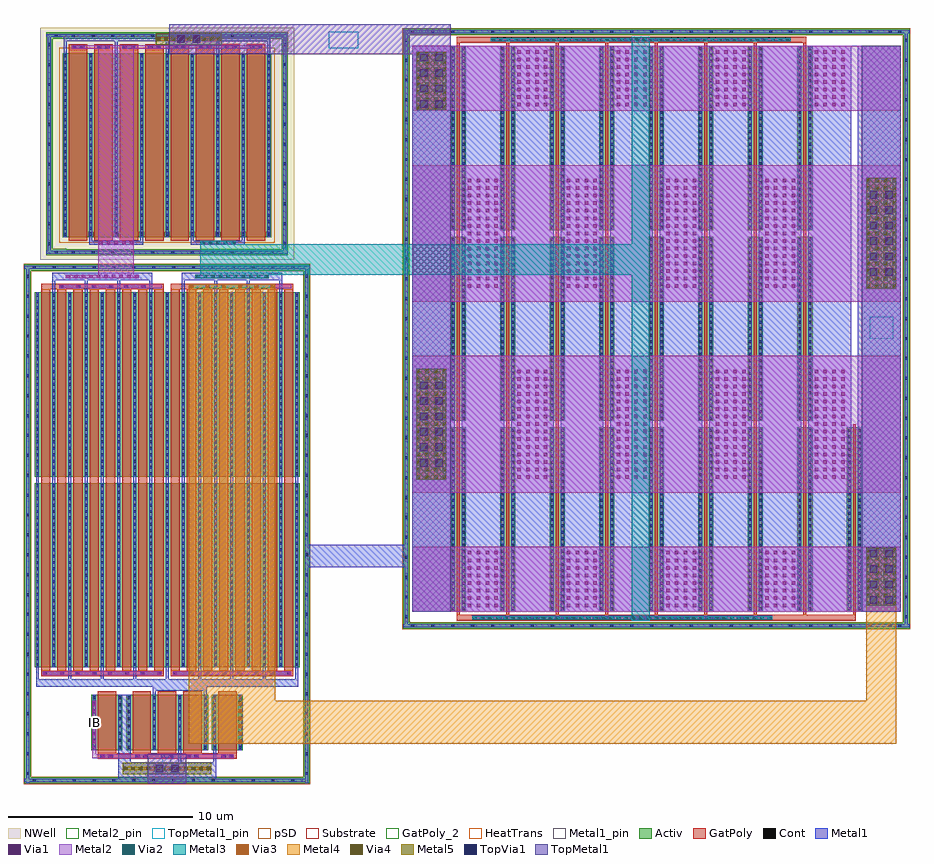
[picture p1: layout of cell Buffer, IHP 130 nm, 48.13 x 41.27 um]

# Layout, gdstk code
from math import pi, radians
import gdstk
lib = gdstk.Library(unit=1e-6, precision=1e-09)
def R(c, l, rs):  # rectangles x0, y0, x1, y1
    for r in rs: c.add(gdstk.rectangle(r[:2], r[2:], *l))
def A(c, l, x, y, w, h, nx, ny, dx, dy):  # array of equal rectangles
    R(c, l, [(x+i*dx, y+j*dy, x+i*dx+w, y+j*dy+h) for i in range(nx) for j in range(ny)])
Activ = (1, 0)
GatPoly = (5, 0)
GatPoly_2 = (5, 2)
Cont = (6, 0)
Metal1 = (8, 0)
Metal1_pin = (8, 2)
Metal2 = (10, 0)
Metal2_pin = (10, 2)
pSD = (14, 0)
Via1 = (19, 0)
Via2 = (29, 0)
Metal3 = (30, 0)
NWell = (31, 0)
Substrate = (40, 0)
Via3 = (49, 0)
Metal4 = (50, 0)
HeatTrans = (51, 0)
Via4 = (66, 0)
Metal5 = (67, 0)
TopVia1 = (125, 0)
TopMetal1 = (126, 0)
TopMetal1_pin = (126, 2)

nmos_13 = lib.new_cell('nmos$13')
R(nmos_13, Activ, [(0,0,0.3,0.3), (0,0,0.83,10), (0.53,0,0.83,0.3)])
R(nmos_13, GatPoly, [(0.34,-0.18,0.49,10.18)])
R(nmos_13, GatPoly_2, [(0.34,-0.18,0.49,10.18)])
A(nmos_13, Cont, 0.07, 0.07, 0.16, 0.16, 1, 4, 0, 0.345)
A(nmos_13, Cont, 0.6, 0.07, 0.16, 0.16, 1, 4, 0, 0.345)
A(nmos_13, Cont, 0.07, 1.455, 0.16, 0.16, 1, 3, 0, 0.345)
A(nmos_13, Cont, 0.6, 1.455, 0.16, 0.16, 1, 3, 0, 0.345)
A(nmos_13, Cont, 0.07, 2.495, 0.16, 0.16, 1, 4, 0, 0.345)
A(nmos_13, Cont, 0.6, 2.495, 0.16, 0.16, 1, 4, 0, 0.345)
A(nmos_13, Cont, 0.07, 3.88, 0.16, 0.16, 1, 3, 0, 0.345)
A(nmos_13, Cont, 0.6, 3.88, 0.16, 0.16, 1, 3, 0, 0.345)
A(nmos_13, Cont, 0.07, 4.92, 0.16, 0.16, 1, 4, 0, 0.345)
A(nmos_13, Cont, 0.6, 4.92, 0.16, 0.16, 1, 4, 0, 0.345)
A(nmos_13, Cont, 0.07, 6.305, 0.16, 0.16, 1, 3, 0, 0.345)
A(nmos_13, Cont, 0.6, 6.305, 0.16, 0.16, 1, 3, 0, 0.345)
A(nmos_13, Cont, 0.07, 7.345, 0.16, 0.16, 1, 4, 0, 0.345)
A(nmos_13, Cont, 0.6, 7.345, 0.16, 0.16, 1, 4, 0, 0.345)
A(nmos_13, Cont, 0.07, 8.73, 0.16, 0.16, 1, 3, 0, 0.345)
A(nmos_13, Cont, 0.6, 8.73, 0.16, 0.16, 1, 3, 0, 0.345)
R(nmos_13, Cont, [(0.07,9.77,0.23,9.93), (0.6,9.77,0.76,9.93)])
R(nmos_13, Metal1, [(0.07,0,0.23,10), (0.6,0,0.76,10)])
R(nmos_13, Metal1_pin, [(0.07,0,0.23,10), (0.6,0,0.76,10)])
R(nmos_13, HeatTrans, [(0.34,-0.18,0.49,10.18)])
nmos_13.add(gdstk.Label('nmos', (0.415,5), layer=63, texttype=0))
nmos_13.add(gdstk.Label('nmos', (0.415,5), layer=51, texttype=0))

metal1sf = lib.new_cell('metal1SF')

via_stack_49 = lib.new_cell('via_stack$49')
R(via_stack_49, Metal1, [(-0.825,-1.58,0.825,1.58)])
R(via_stack_49, Metal2, [(-0.82,-1.58,0.82,1.58)])
A(via_stack_49, Via1, -0.815, -1.53, 0.19, 0.19, 4, 8, 0.48, 0.41)
A(via_stack_49, Via2, -0.815, -1.53, 0.19, 0.19, 4, 8, 0.48, 0.41)
R(via_stack_49, Metal3, [(-0.82,-1.58,0.82,1.58)])
A(via_stack_49, Via3, -0.815, -1.53, 0.19, 0.19, 4, 8, 0.48, 0.41)
R(via_stack_49, Metal4, [(-0.82,-1.58,0.82,1.58)])
A(via_stack_49, Via4, -0.815, -1.53, 0.19, 0.19, 4, 8, 0.48, 0.41)
R(via_stack_49, Metal5, [(-0.82,-1.58,0.82,1.58)])
A(via_stack_49, TopVia1, -0.63, -1.47, 0.42, 0.42, 1, 4, 0, 0.84)
A(via_stack_49, TopVia1, 0.21, -1.47, 0.42, 0.42, 1, 4, 0, 0.84)
R(via_stack_49, TopMetal1, [(-1.05,-1.89,1.05,1.89)])

via_stack_50 = lib.new_cell('via_stack$50')
R(via_stack_50, Metal1, [(-0.825,-3.015,0.825,3.015)])
R(via_stack_50, Metal2, [(-0.82,-3.015,0.82,3.015)])
A(via_stack_50, Via1, -0.815, -2.965, 0.19, 0.19, 4, 15, 0.48, 0.41)
A(via_stack_50, Via2, -0.815, -2.965, 0.19, 0.19, 4, 15, 0.48, 0.41)
R(via_stack_50, Metal3, [(-0.82,-3.015,0.82,3.015)])
A(via_stack_50, Via3, -0.815, -2.965, 0.19, 0.19, 4, 15, 0.48, 0.41)
R(via_stack_50, Metal4, [(-0.82,-3.015,0.82,3.015)])
A(via_stack_50, Via4, -0.815, -2.965, 0.19, 0.19, 4, 15, 0.48, 0.41)
R(via_stack_50, Metal5, [(-0.82,-3.015,0.82,3.015)])
A(via_stack_50, TopVia1, -0.63, -2.31, 0.42, 0.42, 1, 6, 0, 0.84)
A(via_stack_50, TopVia1, 0.21, -2.31, 0.42, 0.42, 1, 6, 0, 0.84)
R(via_stack_50, TopMetal1, [(-1.05,-2.73,1.05,2.73)])

via_stack_44 = lib.new_cell('via_stack$44')
R(via_stack_44, Metal1, [(-0.825,-3.015,0.825,3.015)])
R(via_stack_44, Metal2, [(-0.82,-3.015,0.82,3.015)])
A(via_stack_44, Via1, -0.815, -2.965, 0.19, 0.19, 4, 15, 0.48, 0.41)

via_stack_45 = lib.new_cell('via_stack$45')
R(via_stack_45, Metal1, [(-0.825,-1.58,0.825,1.58)])
R(via_stack_45, Metal2, [(-0.82,-1.58,0.82,1.58)])
A(via_stack_45, Via1, -0.815, -1.53, 0.19, 0.19, 4, 8, 0.48, 0.41)

via_stack_46 = lib.new_cell('via_stack$46')
R(via_stack_46, GatPoly, [(-6.78,-0.15,6.78,0.15)])
A(via_stack_46, Cont, -6.71, -0.08, 0.16, 0.16, 40, 1, 0.34, 0)
R(via_stack_46, Metal1, [(-8.14,-0.105,8.14,0.105)])
R(via_stack_46, Metal2, [(-8.14,-0.1,8.14,0.1)])
A(via_stack_46, Via1, -8.09, -0.095, 0.19, 0.19, 40, 1, 0.41, 0)
A(via_stack_46, Via2, -8.09, -0.095, 0.19, 0.19, 40, 1, 0.41, 0)
R(via_stack_46, Metal3, [(-8.14,-0.1,8.14,0.1)])

gatesf = lib.new_cell('gateSF')
R(gatesf, GatPoly, [(0,0,18.98,0.315)])
gatesf.add(gdstk.Reference(via_stack_46, (9.99,0.165)))

bulk_nmos_1 = lib.new_cell('Bulk_NMOS$1')
R(bulk_nmos_1, Activ, [(0.03,0.03,1.11,0.37)])
R(bulk_nmos_1, Cont, [(0.49,0.12,0.65,0.28)])
R(bulk_nmos_1, Metal1, [(0.03,0.12,1.11,0.28)])
R(bulk_nmos_1, Metal1_pin, [(0.03,0.12,1.11,0.28)])
R(bulk_nmos_1, pSD, [(0,0,1.14,0.4)])

gatecurrentmirror = lib.new_cell('gateCurrentMirror')

nmos_12 = lib.new_cell('nmos$12')
R(nmos_12, Activ, [(0,0,0.3,0.3), (0,0,1.18,10), (0.88,0,1.18,0.3)])
R(nmos_12, GatPoly, [(0.34,-0.18,0.84,10.18)])
R(nmos_12, GatPoly_2, [(0.34,-0.18,0.84,10.18)])
A(nmos_12, Cont, 0.07, 0.07, 0.16, 0.16, 1, 4, 0, 0.345)
A(nmos_12, Cont, 0.95, 0.07, 0.16, 0.16, 1, 4, 0, 0.345)
A(nmos_12, Cont, 0.07, 1.455, 0.16, 0.16, 1, 3, 0, 0.345)
A(nmos_12, Cont, 0.95, 1.455, 0.16, 0.16, 1, 3, 0, 0.345)
A(nmos_12, Cont, 0.07, 2.495, 0.16, 0.16, 1, 4, 0, 0.345)
A(nmos_12, Cont, 0.95, 2.495, 0.16, 0.16, 1, 4, 0, 0.345)
A(nmos_12, Cont, 0.07, 3.88, 0.16, 0.16, 1, 3, 0, 0.345)
A(nmos_12, Cont, 0.95, 3.88, 0.16, 0.16, 1, 3, 0, 0.345)
A(nmos_12, Cont, 0.07, 4.92, 0.16, 0.16, 1, 4, 0, 0.345)
A(nmos_12, Cont, 0.95, 4.92, 0.16, 0.16, 1, 4, 0, 0.345)
A(nmos_12, Cont, 0.07, 6.305, 0.16, 0.16, 1, 3, 0, 0.345)
A(nmos_12, Cont, 0.95, 6.305, 0.16, 0.16, 1, 3, 0, 0.345)
A(nmos_12, Cont, 0.07, 7.345, 0.16, 0.16, 1, 4, 0, 0.345)
A(nmos_12, Cont, 0.95, 7.345, 0.16, 0.16, 1, 4, 0, 0.345)
A(nmos_12, Cont, 0.07, 8.73, 0.16, 0.16, 1, 3, 0, 0.345)
A(nmos_12, Cont, 0.95, 8.73, 0.16, 0.16, 1, 3, 0, 0.345)
R(nmos_12, Cont, [(0.07,9.77,0.23,9.93), (0.95,9.77,1.11,9.93)])
R(nmos_12, Metal1, [(0.07,0,0.23,10), (0.95,0,1.11,10)])
R(nmos_12, Metal1_pin, [(0.07,0,0.23,10), (0.95,0,1.11,10)])
R(nmos_12, HeatTrans, [(0.34,-0.18,0.84,10.18)])
nmos_12.add(gdstk.Label('nmos', (0.59,5), layer=63, texttype=0))
nmos_12.add(gdstk.Label('nmos', (0.59,5), layer=51, texttype=0))

metal1boxsourcedrainm1m2 = lib.new_cell('metal1BoxSourceDrainM1M2')
R(metal1boxsourcedrainm1m2, Metal1, [(0.88,0,1.04,0.655)])

metal1boxm1m2 = lib.new_cell('metal1BoxM1M2')
R(metal1boxm1m2, Metal1, [(0,0,0.16,0.36)])

metal1gatem1m2buffer = lib.new_cell('metal1gateM1M2Buffer')
R(metal1gatem1m2buffer, Metal1, [(0,0,1.17,0.21)])

via_stack_48 = lib.new_cell('via_stack$48')
R(via_stack_48, GatPoly, [(-0.15,-0.15,0.15,0.15)])
R(via_stack_48, Cont, [(-0.08,-0.08,0.08,0.08)])
R(via_stack_48, Metal1, [(-0.145,-0.105,0.145,0.105)])
R(via_stack_48, Metal2, [(-0.145,-0.1,0.145,0.1)])
R(via_stack_48, Via1, [(-0.095,-0.095,0.095,0.095)])

gatem1m2buffer = lib.new_cell('gateM1M2Buffer')
R(gatem1m2buffer, GatPoly, [(0,0,6.66,0.3)])
R(gatem1m2buffer, Metal2, [(0.105,0.045,6.555,0.255)])
r = gdstk.Reference(metal1gatem1m2buffer, (0.105,0.045)); r.repetition = gdstk.Repetition(4, 1, v1=(1.76,0), v2=(0,0)); gatem1m2buffer.add(r)
r = gdstk.Reference(via_stack_48, (0.25,0.15)); r.repetition = gdstk.Repetition(8, 1, v1=(0.88,0), v2=(0,0)); gatem1m2buffer.add(r)

metal1boxgatem1m2buffer = lib.new_cell('metal1boxGateM1M2Buffer')

gatem1m2buffer_1_1 = lib.new_cell('gateM1M2Buffer$1$1')
R(gatem1m2buffer_1_1, GatPoly, [(0,0,6.66,0.3)])
R(gatem1m2buffer_1_1, Metal2, [(0.985,0.045,6.555,0.255)])
r = gdstk.Reference(metal1gatem1m2buffer, (0.985,0.045)); r.repetition = gdstk.Repetition(3, 1, v1=(1.76,0), v2=(0,0)); gatem1m2buffer_1_1.add(r)
r = gdstk.Reference(via_stack_48, (1.13,0.15)); r.repetition = gdstk.Repetition(6, 1, v1=(0.88,0), v2=(0,0)); gatem1m2buffer_1_1.add(r)

nmos_8 = lib.new_cell('nmos$8')
R(nmos_8, Activ, [(0,0,0.3,0.3), (0,0,1.68,3), (1.38,0,1.68,0.3)])
R(nmos_8, GatPoly, [(0.34,-0.18,1.34,3.18)])
R(nmos_8, GatPoly_2, [(0.34,-0.18,1.34,3.18)])
A(nmos_8, Cont, 0.07, 0.07, 0.16, 0.16, 1, 7, 0, 0.385)
A(nmos_8, Cont, 1.45, 0.07, 0.16, 0.16, 1, 7, 0, 0.385)
R(nmos_8, Cont, [(0.07,2.77,0.23,2.93), (1.45,2.77,1.61,2.93)])
R(nmos_8, Metal1, [(0.07,0,0.23,3), (1.45,0,1.61,3)])
R(nmos_8, Metal1_pin, [(0.07,0,0.23,3), (1.45,0,1.61,3)])
R(nmos_8, HeatTrans, [(0.34,-0.18,1.34,3.18)])
nmos_8.add(gdstk.Label('nmos', (0.84,1.5), layer=63, texttype=0))
nmos_8.add(gdstk.Label('nmos', (0.84,1.5), layer=51, texttype=0))

via_stack_62 = lib.new_cell('via_stack$62')
R(via_stack_62, GatPoly, [(-0.15,-0.15,0.15,0.15)])
R(via_stack_62, Cont, [(-0.08,-0.08,0.08,0.08)])
R(via_stack_62, Metal1, [(-0.145,-0.105,0.145,0.105)])
R(via_stack_62, Metal2, [(-0.145,-0.1,0.145,0.1)])
R(via_stack_62, Via1, [(-0.095,-0.095,0.095,0.095)])
R(via_stack_62, Via2, [(-0.095,-0.095,0.095,0.095)])
R(via_stack_62, Metal3, [(-0.145,-0.1,0.145,0.1)])
R(via_stack_62, Via3, [(-0.095,-0.095,0.095,0.095)])
R(via_stack_62, Metal4, [(-0.145,-0.1,0.145,0.1)])

gatem1m2buffer_1 = lib.new_cell('gateM1M2Buffer$1')
R(gatem1m2buffer_1, GatPoly, [(0,0,6.66,0.3)])
R(gatem1m2buffer_1, Metal2, [(0.985,0.045,6.555,0.255)])
r = gdstk.Reference(metal1gatem1m2buffer, (0.985,0.045)); r.repetition = gdstk.Repetition(3, 1, v1=(1.76,0), v2=(0,0)); gatem1m2buffer_1.add(r)
r = gdstk.Reference(via_stack_62, (1.13,0.15)); r.repetition = gdstk.Repetition(6, 1, v1=(0.88,0), v2=(0,0)); gatem1m2buffer_1.add(r)

bulk_nmos_1_1 = lib.new_cell('Bulk_NMOS$1$1')
R(bulk_nmos_1_1, Activ, [(0.03,0.03,1.11,0.37)])
R(bulk_nmos_1_1, Metal1, [(0.03,0.12,1.11,0.28)])
R(bulk_nmos_1_1, Metal1_pin, [(0.03,0.12,1.11,0.28)])
R(bulk_nmos_1_1, pSD, [(0,0,1.14,0.4)])

via_stack_59 = lib.new_cell('via_stack$59')
R(via_stack_59, Metal1, [(-0.965,-0.105,0.965,0.105)])
R(via_stack_59, Metal2, [(-0.965,-0.1,0.965,0.1)])
A(via_stack_59, Via1, -0.915, -0.095, 0.19, 0.19, 5, 1, 0.41, 0)
A(via_stack_59, Via2, -0.915, -0.095, 0.19, 0.19, 5, 1, 0.41, 0)
R(via_stack_59, Metal3, [(-0.965,-0.1,0.965,0.1)])

pmos_7 = lib.new_cell('pmos$7')
R(pmos_7, Activ, [(0,0,0.3,0.3), (0,0,1.68,10), (1.38,0,1.68,0.3)])
R(pmos_7, GatPoly, [(0.34,-0.18,1.34,10.18), (0.34,-0.18,1.34,10.18)])
A(pmos_7, Cont, 0.07, 0.07, 0.16, 0.16, 1, 4, 0, 0.345)
A(pmos_7, Cont, 1.45, 0.07, 0.16, 0.16, 1, 4, 0, 0.345)
A(pmos_7, Cont, 0.07, 1.455, 0.16, 0.16, 1, 3, 0, 0.345)
A(pmos_7, Cont, 1.45, 1.455, 0.16, 0.16, 1, 3, 0, 0.345)
A(pmos_7, Cont, 0.07, 2.495, 0.16, 0.16, 1, 4, 0, 0.345)
A(pmos_7, Cont, 1.45, 2.495, 0.16, 0.16, 1, 4, 0, 0.345)
A(pmos_7, Cont, 0.07, 3.88, 0.16, 0.16, 1, 3, 0, 0.345)
A(pmos_7, Cont, 1.45, 3.88, 0.16, 0.16, 1, 3, 0, 0.345)
A(pmos_7, Cont, 0.07, 4.92, 0.16, 0.16, 1, 4, 0, 0.345)
A(pmos_7, Cont, 1.45, 4.92, 0.16, 0.16, 1, 4, 0, 0.345)
A(pmos_7, Cont, 0.07, 6.305, 0.16, 0.16, 1, 3, 0, 0.345)
A(pmos_7, Cont, 1.45, 6.305, 0.16, 0.16, 1, 3, 0, 0.345)
A(pmos_7, Cont, 0.07, 7.345, 0.16, 0.16, 1, 4, 0, 0.345)
A(pmos_7, Cont, 1.45, 7.345, 0.16, 0.16, 1, 4, 0, 0.345)
A(pmos_7, Cont, 0.07, 8.73, 0.16, 0.16, 1, 3, 0, 0.345)
A(pmos_7, Cont, 1.45, 8.73, 0.16, 0.16, 1, 3, 0, 0.345)
R(pmos_7, Cont, [(0.07,9.77,0.23,9.93), (1.45,9.77,1.61,9.93)])
R(pmos_7, Metal1, [(0.07,0,0.23,10), (0.07,0,0.23,10), (1.45,0,1.61,10), (1.45,0,1.61,10)])
R(pmos_7, pSD, [(-0.18,-0.3,1.86,10.3)])
R(pmos_7, NWell, [(-0.31,-0.31,1.99,10.31)])
R(pmos_7, Substrate, [(1.38,0,1.68,0.3)])
R(pmos_7, HeatTrans, [(0.34,-0.18,1.34,10.18)])
pmos_7.add(gdstk.Label('pmos', (0.84,5), layer=63, texttype=0))
pmos_7.add(gdstk.Label('pmos', (0.84,5), layer=51, texttype=0))

via_stack_55 = lib.new_cell('via_stack$55')
R(via_stack_55, Metal1, [(-0.965,-0.105,0.965,0.105)])
R(via_stack_55, Metal2, [(-0.965,-0.1,0.965,0.1)])
A(via_stack_55, Via1, -0.915, -0.095, 0.19, 0.19, 5, 1, 0.41, 0)

bulk_pmos_1_1 = lib.new_cell('Bulk_PMOS$1$1')
R(bulk_pmos_1_1, Activ, [(0.34,0.24,1.42,0.58)])
R(bulk_pmos_1_1, Metal1, [(0.34,0.33,1.42,0.49)])
R(bulk_pmos_1_1, Metal1_pin, [(0.34,0.33,1.42,0.49)])
R(bulk_pmos_1_1, NWell, [(0,0,1.76,0.82)])

bulk_pmos_1 = lib.new_cell('Bulk_PMOS$1')
R(bulk_pmos_1, Activ, [(0.34,0.24,1.42,0.58)])
R(bulk_pmos_1, Cont, [(0.8,0.33,0.96,0.49)])
R(bulk_pmos_1, Metal1, [(0.34,0.33,1.42,0.49)])
R(bulk_pmos_1, Metal1_pin, [(0.34,0.33,1.42,0.49)])
R(bulk_pmos_1, NWell, [(0,0,1.76,0.82)])

via_stack_52 = lib.new_cell('via_stack$52')
R(via_stack_52, GatPoly, [(-0.32,-0.15,0.32,0.15)])
R(via_stack_52, Cont, [(-0.25,-0.08,-0.09,0.08), (0.09,-0.08,0.25,0.08)])
R(via_stack_52, Metal1, [(-0.35,-0.105,0.35,0.105)])
R(via_stack_52, Metal2, [(-0.35,-0.1,0.35,0.1)])
R(via_stack_52, Via1, [(-0.3,-0.095,-0.11,0.095), (0.11,-0.095,0.3,0.095)])

gatepmosbuffer = lib.new_cell('gatePmosBuffer')
R(gatepmosbuffer, GatPoly, [(0,0,1,0.3)])
gatepmosbuffer.add(gdstk.Reference(via_stack_52, (0.5,0.15)))

via_stack_54 = lib.new_cell('via_stack$54')
R(via_stack_54, Metal1, [(-1.99,-0.105,1.99,0.105)])
R(via_stack_54, Metal2, [(-1.99,-0.1,1.99,0.1)])
A(via_stack_54, Via1, -1.94, -0.095, 0.19, 0.19, 10, 1, 0.41, 0)

via_stack_60 = lib.new_cell('via_stack$60')
R(via_stack_60, Metal1, [(-1.99,-0.105,1.99,0.105)])
R(via_stack_60, Metal2, [(-1.99,-0.1,1.99,0.1)])
A(via_stack_60, Via1, -1.94, -0.095, 0.19, 0.19, 10, 1, 0.41, 0)
A(via_stack_60, Via2, -1.94, -0.095, 0.19, 0.19, 10, 1, 0.41, 0)
R(via_stack_60, Metal3, [(-1.99,-0.1,1.99,0.1)])

via_stack_56 = lib.new_cell('via_stack$56')
R(via_stack_56, Metal1, [(-1.785,-0.105,1.785,0.105)])
R(via_stack_56, Metal2, [(-1.785,-0.1,1.785,0.1)])
A(via_stack_56, Via1, -1.735, -0.095, 0.19, 0.19, 9, 1, 0.41, 0)
A(via_stack_56, Via2, -1.735, -0.095, 0.19, 0.19, 9, 1, 0.41, 0)
R(via_stack_56, Metal3, [(-1.785,-0.1,1.785,0.1)])
A(via_stack_56, Via3, -1.735, -0.095, 0.19, 0.19, 9, 1, 0.41, 0)
R(via_stack_56, Metal4, [(-1.785,-0.1,1.785,0.1)])
A(via_stack_56, Via4, -1.735, -0.095, 0.19, 0.19, 9, 1, 0.41, 0)
R(via_stack_56, Metal5, [(-1.785,-0.31,1.785,0.31)])
R(via_stack_56, TopVia1, [(-0.63,-0.21,-0.21,0.21), (0.21,-0.21,0.63,0.21)])
R(via_stack_56, TopMetal1, [(-1.05,-0.82,1.05,0.82)])

via_stack_58 = lib.new_cell('via_stack$58')
R(via_stack_58, Metal1, [(-2.4,-0.105,2.4,0.105)])
R(via_stack_58, Metal2, [(-2.4,-0.1,2.4,0.1)])
A(via_stack_58, Via1, -2.35, -0.095, 0.19, 0.19, 12, 1, 0.41, 0)
A(via_stack_58, Via2, -2.35, -0.095, 0.19, 0.19, 12, 1, 0.41, 0)
R(via_stack_58, Metal3, [(-2.4,-0.1,2.4,0.1)])
A(via_stack_58, Via3, -2.35, -0.095, 0.19, 0.19, 12, 1, 0.41, 0)
R(via_stack_58, Metal4, [(-2.4,-0.1,2.4,0.1)])
A(via_stack_58, Via4, -2.35, -0.095, 0.19, 0.19, 12, 1, 0.41, 0)
R(via_stack_58, Metal5, [(-2.4,-0.31,2.4,0.31)])
R(via_stack_58, TopVia1, [(-0.63,-0.21,-0.21,0.21), (0.21,-0.21,0.63,0.21)])
R(via_stack_58, TopMetal1, [(-1.05,-0.82,1.05,0.82)])

via_stack_63 = lib.new_cell('via_stack$63')
R(via_stack_63, Metal1, [(-0.105,-1.17,0.105,1.17)])
R(via_stack_63, Metal2, [(-0.1,-1.17,0.1,1.17)])
A(via_stack_63, Via1, -0.095, -1.12, 0.19, 0.19, 1, 6, 0, 0.41)

via_stack_61 = lib.new_cell('via_stack$61')
R(via_stack_61, Metal1, [(-0.105,-1.17,0.105,1.17)])
R(via_stack_61, Metal2, [(-0.1,-1.17,0.1,1.17)])
A(via_stack_61, Via1, -0.095, -1.12, 0.19, 0.19, 1, 6, 0, 0.41)
A(via_stack_61, Via2, -0.095, -1.12, 0.19, 0.19, 1, 6, 0, 0.41)
R(via_stack_61, Metal3, [(-0.1,-1.17,0.1,1.17)])
A(via_stack_61, Via3, -0.095, -1.12, 0.19, 0.19, 1, 6, 0, 0.41)
R(via_stack_61, Metal4, [(-0.1,-1.17,0.1,1.17)])

buffer = lib.new_cell('Buffer')
R(buffer, Activ, [(0.349,-4.102,0.389,-3.762)])
R(buffer, GatPoly, [(-10.791,-2.767,-3.246,-2.467), (27.689,4.738,30.379,5.053)])
A(buffer, Metal1, 6.279, 5.233, 2.32, 30.72, 10, 1, 2.69, 0)
A(buffer, Metal1, -11.246, 25.383, 0.16, 0.18, 4, 1, 2.76, 0)
R(buffer, Metal1, [(0.349,-4.012,0.639,-3.852), (-9.681,-3.852,-4.356,-3.632), (-9.681,-3.632,-4.356,-2.962), (-9.681,-2.962,-9.011,0.713), (-6.411,-2.962,-6.251,-2.287), (-4.516,-2.962,-4.356,-2.287), (-7.791,0.713,-7.631,0.933), (-5.031,0.713,-4.871,0.933), (-7.791,0.933,-4.871,1.153), (-14.141,1.153,0.099,1.553), (0.479,7.643,6.039,8.858), (-13.261,23.223,-7.821,23.623), (-6.221,23.223,-0.781,23.623), (-11.246,25.163,-8.326,25.383), (-5.726,25.163,-2.806,25.383), (-12.626,36.218,-1.426,36.438)])
R(buffer, Metal2, [(-11.081,-2.722,-10.881,-1.957), (-10.881,-2.722,-3.396,-2.512), (6.279,5.233,32.809,8.753), (6.279,11.693,32.809,19.113), (6.279,22.053,32.809,29.473), (-10.751,23.523,-8.821,25.173), (-10.751,25.373,-8.821,35.998), (6.279,32.433,32.809,35.953), (-12.206,35.788,-1.846,35.998)])
R(buffer, Metal2_pin, [(-11.081,-0.862,-10.881,-0.717), (-11.491,1.798,-11.296,1.958)])
R(buffer, Metal3, [(18.199,4.738,19.199,36.448), (-5.846,22.798,-1.156,22.998), (-5.231,23.523,18.199,25.173)])
R(buffer, NWell, [(-13.926,24.343,-0.121,36.928)])
R(buffer, Metal4, [(-5.846,-1.957,-3.156,0.383), (-2.956,-1.957,32.579,0.383), (-5.846,0.383,-1.156,22.798), (30.939,0.383,32.579,5.543), (-5.846,22.798,-1.156,22.998)])
R(buffer, TopMetal1, [(6.279,5.233,8.379,35.953), (30.709,5.233,32.809,35.953), (-4.796,35.503,8.379,37.143)])
R(buffer, TopMetal1_pin, [(-7.276,-2.987,-6.816,-2.657), (31.129,20.038,32.414,21.248), (1.769,35.838,3.354,36.723)])
r = gdstk.Reference(nmos_13, (8.369,5.233)); r.repetition = gdstk.Repetition(8, 3, v1=(2.69,0), v2=(0,10.36)); buffer.add(r)
buffer.add(gdstk.Reference(nmos_13, (29.889,5.233)))
r = gdstk.Reference(metal1sf, (20.604,5.073)); r.repetition = gdstk.Repetition(10, 1, v1=(2.69,0), v2=(0,0)); buffer.add(r)
buffer.add(gdstk.Reference(via_stack_49, (7.329,34.063)))
buffer.add(gdstk.Reference(via_stack_50, (31.759,25.773)))
buffer.add(gdstk.Reference(via_stack_50, (7.329,15.413)))
buffer.add(gdstk.Reference(via_stack_49, (31.759,7.123)))
r = gdstk.Reference(via_stack_44, (12.819,15.413)); r.repetition = gdstk.Repetition(4, 1, v1=(5.38,0), v2=(0,0)); buffer.add(r)
r = gdstk.Reference(via_stack_44, (10.129,25.773)); r.repetition = gdstk.Repetition(4, 1, v1=(5.38,0), v2=(0,0)); buffer.add(r)
r = gdstk.Reference(via_stack_45, (12.819,34.193)); r.repetition = gdstk.Repetition(4, 1, v1=(5.38,0), v2=(0,0)); buffer.add(r)
r = gdstk.Reference(via_stack_45, (10.129,6.993)); r.repetition = gdstk.Repetition(4, 1, v1=(5.38,0), v2=(0,0)); buffer.add(r)
buffer.add(gdstk.Reference(gatesf, (27.689,5.053), rotation=pi))
buffer.add(gdstk.Reference(gatesf, (8.709,36.133)))
r = gdstk.Reference(bulk_nmos_1, (5.759,36.523)); r.repetition = gdstk.Repetition(25, 1, v1=(1.08,0), v2=(0,0)); buffer.add(r)
r = gdstk.Reference(bulk_nmos_1, (5.759,4.263)); r.repetition = gdstk.Repetition(25, 1, v1=(1.08,0), v2=(0,0)); buffer.add(r)
r = gdstk.Reference(bulk_nmos_1, (6.159,4.373), rotation=pi/2); r.repetition = gdstk.Repetition(30, 1, v1=(0,1.08), v2=(0,0)); buffer.add(r)
r = gdstk.Reference(bulk_nmos_1, (33.329,4.373), rotation=pi/2); r.repetition = gdstk.Repetition(30, 1, v1=(0,1.08), v2=(0,0)); buffer.add(r)
buffer.add(gdstk.Reference(bulk_nmos_1, (32.189,36.523)))
buffer.add(gdstk.Reference(bulk_nmos_1, (32.189,4.263)))
buffer.add(gdstk.Reference(gatecurrentmirror, (-5.591,2.528)))
buffer.add(gdstk.Reference(gatecurrentmirror, (-7.481,2.528)))
buffer.add(gdstk.Reference(gatecurrentmirror, (-4.211,2.528)))
buffer.add(gdstk.Reference(gatecurrentmirror, (-2.831,2.528)))
buffer.add(gdstk.Reference(gatecurrentmirror, (-0.936,2.528)))
r = gdstk.Reference(nmos_12, (-14.211,2.208)); r.repetition = gdstk.Repetition(16, 2, v1=(0.88,0), v2=(0,10.36)); buffer.add(r)
r = gdstk.Reference(metal1boxsourcedrainm1m2, (-14.141,22.568)); r.repetition = gdstk.Repetition(8, 1, v1=(1.76,0), v2=(0,0)); buffer.add(r)
r = gdstk.Reference(metal1boxm1m2, (-14.141,12.208)); r.repetition = gdstk.Repetition(17, 1, v1=(0.88,0), v2=(0,0)); buffer.add(r)
buffer.add(gdstk.Reference(gatem1m2buffer, (-6.831,1.728)))
r = gdstk.Reference(metal1boxgatem1m2buffer, (-13.766,1.773)); r.repetition = gdstk.Repetition(4, 1, v1=(1.76,0), v2=(0,0)); buffer.add(r)
buffer.add(gdstk.Reference(gatem1m2buffer, (-13.871,1.728)))
buffer.add(gdstk.Reference(gatem1m2buffer_1_1, (-13.871,22.748)))
r = gdstk.Reference(nmos_8, (-11.131,-2.287)); r.repetition = gdstk.Repetition(1, 1, v1=(0,0), v2=(0,0)); buffer.add(r)
r = gdstk.Reference(nmos_8, (-9.241,-2.287)); r.repetition = gdstk.Repetition(3, 1, v1=(1.38,0), v2=(0,0)); buffer.add(r)
r = gdstk.Reference(nmos_8, (-4.586,-2.287)); r.repetition = gdstk.Repetition(1, 1, v1=(0,0), v2=(0,0)); buffer.add(r)
buffer.add(gdstk.Reference(gatem1m2buffer_1, (-6.831,22.748)))
r = gdstk.Reference(metal1boxsourcedrainm1m2, (-15.021,1.553)); r.repetition = gdstk.Repetition(9, 1, v1=(1.76,0), v2=(0,0)); buffer.add(r)
r = gdstk.Reference(bulk_nmos_1, (-14.801,23.723)); r.repetition = gdstk.Repetition(14, 1, v1=(1.08,0), v2=(0,0)); buffer.add(r)
r = gdstk.Reference(bulk_nmos_1, (-14.801,-4.132)); r.repetition = gdstk.Repetition(14, 1, v1=(1.08,0), v2=(0,0)); buffer.add(r)
r = gdstk.Reference(bulk_nmos_1, (-14.401,-4.132), rotation=pi/2); r.repetition = gdstk.Repetition(26, 1, v1=(0,1.08), v2=(0,0)); buffer.add(r)
r = gdstk.Reference(bulk_nmos_1, (0.759,-4.132), rotation=pi/2); r.repetition = gdstk.Repetition(26, 1, v1=(0,1.08), v2=(0,0)); buffer.add(r)
buffer.add(gdstk.Reference(bulk_nmos_1_1, (-0.381,23.723)))
buffer.add(gdstk.Reference(via_stack_59, (-4.266,25.273)))
r = gdstk.Reference(pmos_7, (-12.696,25.563)); r.repetition = gdstk.Repetition(8, 1, v1=(1.38,0), v2=(0,0)); buffer.add(r)
buffer.add(gdstk.Reference(via_stack_55, (-9.786,25.273)))
buffer.add(gdstk.Reference(bulk_pmos_1_1, (-1.881,36.108)))
buffer.add(gdstk.Reference(bulk_pmos_1_1, (-1.881,24.343)))
r = gdstk.Reference(bulk_pmos_1, (-0.221,24.343), rotation=pi/2); r.repetition = gdstk.Repetition(11, 1, v1=(0,1.08), v2=(0,0)); buffer.add(r)
buffer.add(gdstk.Reference(bulk_pmos_1, (-13.926,36.108)))
r = gdstk.Reference(bulk_pmos_1, (-13.006,36.108)); r.repetition = gdstk.Repetition(11, 1, v1=(1.08,0), v2=(0,0)); buffer.add(r)
buffer.add(gdstk.Reference(bulk_pmos_1, (-13.926,24.348)))
r = gdstk.Reference(bulk_pmos_1, (-13.006,24.338), rotation=pi/2); r.repetition = gdstk.Repetition(11, 1, v1=(0,1.08), v2=(0,0)); buffer.add(r)
r = gdstk.Reference(bulk_pmos_1, (-13.006,24.343)); r.repetition = gdstk.Repetition(11, 1, v1=(1.08,0), v2=(0,0)); buffer.add(r)
r = gdstk.Reference(metal1boxsourcedrainm1m2, (-13.506,35.563)); r.repetition = gdstk.Repetition(5, 1, v1=(2.76,0), v2=(0,0)); buffer.add(r)
r = gdstk.Reference(gatepmosbuffer, (-12.356,35.743)); r.repetition = gdstk.Repetition(8, 1, v1=(1.38,0), v2=(0,0)); buffer.add(r)
buffer.add(gdstk.Reference(via_stack_54, (-10.541,23.423)))
buffer.add(gdstk.Reference(via_stack_60, (-3.501,23.423)))
buffer.add(gdstk.Reference(via_stack_56, (-5.846,36.323)))
buffer.add(gdstk.Reference(via_stack_58, (-7.021,-3.297)))
buffer.add(gdstk.Reference(via_stack_63, (-10.981,-0.787)))
buffer.add(gdstk.Reference(via_stack_61, (-3.056,-0.787)))
buffer.add(gdstk.Reference(via_stack_52, (-10.306,-2.617)))
r = gdstk.Reference(via_stack_52, (-8.401,-2.617)); r.repetition = gdstk.Repetition(3, 1, v1=(1.38,0), v2=(0,0)); buffer.add(r)
buffer.add(gdstk.Reference(via_stack_52, (-3.746,-2.617)))
buffer.add(gdstk.Label('IB', (-10.991,-0.802), layer=10, texttype=25))

lib.write_gds('Buffer.gds')
